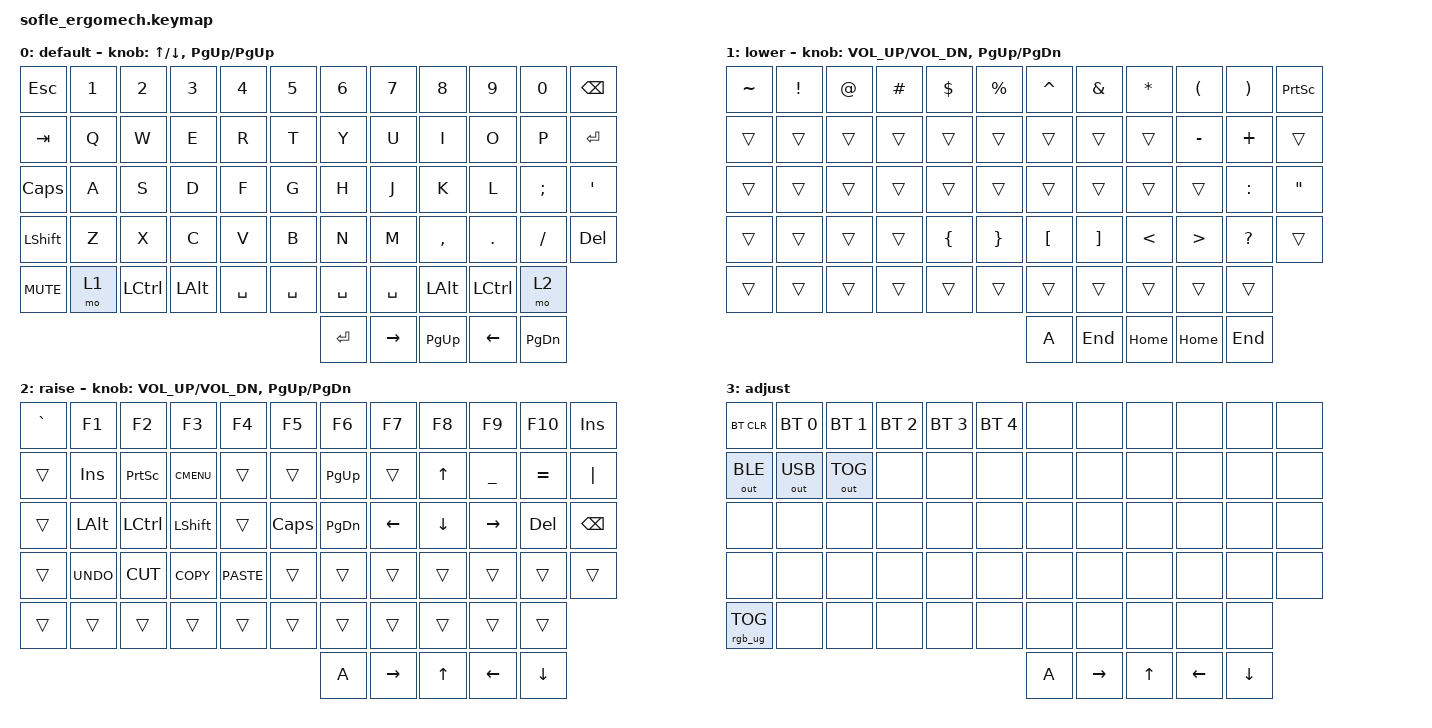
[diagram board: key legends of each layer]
/*
 * Copyright (c) 2020 The ZMK Contributors
 *
 * SPDX-License-Identifier: MIT
 */

#include <behaviors.dtsi>
#include <dt-bindings/zmk/bt.h>
#include <dt-bindings/zmk/keys.h>
#include <dt-bindings/zmk/outputs.h>
#include <dt-bindings/zmk/rgb.h>

#define BASE 0
#define LOWER 1
#define RAISE 2
#define ADJUST 3

/ {
    // Activate ADJUST layer by pressing raise and lower

    conditional_layers {
        compatible = "zmk,conditional-layers";

        adjust_layer {
            if-layers = <LOWER RAISE>;
            then-layer = <ADJUST>;
        };
    };

    keymap {
        compatible = "zmk,keymap";

        default_layer {
            label = "default";

            // ------------------------------------------------------------------------------------------------------------
            // |   `   |  1  |  2  |  3   |  4   |  5   |                   |  6   |  7    |  8    |  9   |   0   |       |
            // |  ESC  |  Q  |  W  |  E   |  R   |  T   |                   |  Y   |  U    |  I    |  O   |   P   | BKSPC |
            // |  TAB  |  A  |  S  |  D   |  F   |  G   |                   |  H   |  J    |  K    |  L   |   ;   |   '   |
            // | SHIFT |  Z  |  X  |  C   |  V   |  B   |  MUTE  |  |       |  N   |  M    |  ,    |  .   |   /   | SHIFT |
            //               | GUI | ALT  | CTRL | LOWER|  ENTER |  | SPACE | RAISE| CTRL  | ALT   | GUI  |

            bindings = <
&kp ESCAPE  &kp N1  &kp N2     &kp N3        &kp N4     &kp N5     &kp N6     &kp N7     &kp N8        &kp N9     &kp N0         &kp BACKSPACE
&kp TAB     &kp Q   &kp W      &kp E         &kp R      &kp T      &kp Y      &kp U      &kp I         &kp O      &kp P          &kp ENTER
&kp CAPS    &kp A   &kp S      &kp D         &kp F      &kp G      &kp H      &kp J      &kp K         &kp L      &kp SEMI       &kp SQT
&kp LSHFT   &kp Z   &kp X      &kp C         &kp V      &kp B      &kp N      &kp M      &kp COMMA     &kp DOT    &kp FSLH       &kp DELETE
&kp C_MUTE  &mo 1   &kp LCTRL  &kp LEFT_ALT  &kp SPACE  &kp SPACE  &kp SPACE  &kp SPACE  &kp LEFT_ALT  &kp LCTRL  &mo 2
                                                                   &kp ENTER  &kp RIGHT  &kp PG_UP     &kp LEFT   &kp PAGE_DOWN
            >;

            sensor-bindings =
                <&inc_dec_kp UP_ARROW DOWN>,
                <&inc_dec_kp PG_UP PG_UP>;
        };

        lower_layer {
            label = "lower";

            // TODO: Some binds are waiting for shifted keycode support.
            // ------------------------------------------------------------------------------------------------------------
            // |       |  F1 |  F2 |  F3  |  F4  |  F5  |                   |  F6  |  F7   |  F8   |  F9  |  F10  |  F11  |
            // |   `   |  1  |  2  |  3   |  4   |  5   |                   |  6   |  7    |  8    |  9   |   0   |  F12  |
            // |       |  !  |  @  |  #   |  $   |  %   |                   |  ^   |  &    |  *    |  (   |   )   |   |   |
            // |       |  =  |  -  |  +   |  {   |  }   |        |  |       |  [   |  ]    |  ;    |  :   |   \   |       |
            //               |     |      |      |      |        |  |       |      |       |       |      |

            bindings = <
&kp TILDE  &kp EXCL  &kp AT  &kp POUND  &kp DOLLAR  &kp PERCENT  &kp CARET  &kp AMPERSAND  &kp ASTERISK   &kp LEFT_PARENTHESIS  &kp RIGHT_PARENTHESIS  &kp PRINTSCREEN
&trans     &trans    &trans  &trans     &trans      &trans       &trans     &trans         &trans         &kp MINUS             &kp PLUS               &trans
&trans     &trans    &trans  &trans     &trans      &trans       &trans     &trans         &trans         &trans                &kp COLON              &kp DOUBLE_QUOTES
&trans     &trans    &trans  &trans     &kp LBRC    &kp RBRC     &kp LBKT   &kp RBKT       &kp LESS_THAN  &kp GREATER_THAN      &kp QUESTION           &trans
&trans     &trans    &trans  &trans     &trans      &trans       &trans     &trans         &trans         &trans                &trans
                                                                 &kp A      &kp END        &kp HOME       &kp HOME              &kp END
            >;

            sensor-bindings = <&inc_dec_kp C_VOL_UP C_VOL_DN &inc_dec_kp PG_UP PG_DN>;
        };

        raise_layer {
            label = "raise";

            // ------------------------------------------------------------------------------------------------------------
            // | BTCLR | BT1  | BT2  |  BT3  |  BT4  |  BT5 |                |      |      |       |      |       |       |
            // |       | INS  | PSCR | GUI   |       |      |                | PGUP |      |   ^   |      |       |       |
            // |       | ALT  | CTRL | SHIFT |       | CAPS |                | PGDN |   <- |   v   |  ->  |  DEL  | BKSPC |
            // |       | UNDO | CUT  | COPY  | PASTE |      |      |  |      |      |      |       |      |       |       |
            //                |      |       |       |      |      |  |      |      |      |       |      |

            bindings = <
&kp GRAVE  &kp F1      &kp F2     &kp F3       &kp F4       &kp F5    &kp F6     &kp F7     &kp F8        &kp F9          &kp F10    &kp INS
&trans     &kp INS     &kp PSCRN  &kp K_CMENU  &trans       &trans    &kp PG_UP  &trans     &kp UP        &kp UNDER       &kp EQUAL  &kp PIPE
&trans     &kp LALT    &kp LCTRL  &kp LSHFT    &trans       &kp CLCK  &kp PG_DN  &kp LEFT   &kp DOWN      &kp RIGHT       &kp DEL    &kp BSPC
&trans     &kp K_UNDO  &kp K_CUT  &kp K_COPY   &kp K_PASTE  &trans    &trans     &trans     &trans        &trans          &trans     &trans
&trans     &trans      &trans     &trans       &trans       &trans    &trans     &trans     &trans        &trans          &trans
                                                                      &kp A      &kp RIGHT  &kp UP_ARROW  &kp LEFT_ARROW  &kp DOWN
            >;

            sensor-bindings = <&inc_dec_kp C_VOL_UP C_VOL_DN &inc_dec_kp PG_UP PG_DN>;
        };

        adjust_layer {
            // ----------------------------------------------------------------------------------------------------------------------------
            // | BTCLR  |  BT1    |  BT2    |   BT3   |   BT4   |   BT5   |                  |      |      |       |      |       |       |
            // | EXTPWR | RGB_HUD | RGB_HUI | RGB_SAD | RGB_SAI | RGB_EFF |                  |      |      |       |      |       |       |
            // |        | RGB_BRD | RGB_BRI |         |         |         |                  |      |      |       |      |       |       |
            // |        |         |         |         |         |         | RGB_TOG | |      |      |      |       |      |       |       |
            //                    |         |         |         |         |         | |      |      |      |       |      |

            label = "adjust";
            bindings = <
&bt BT_CLR       &bt BT_SEL 0  &bt BT_SEL 1  &bt BT_SEL 2  &bt BT_SEL 3  &bt BT_SEL 4  &none  &none      &none         &none           &none     &none
&out OUT_BLE     &out OUT_USB  &out OUT_TOG  &none         &none         &none         &none  &none      &none         &none           &none     &none
&none            &none         &none         &none         &none         &none         &none  &none      &none         &none           &none     &none
&none            &none         &none         &none         &none         &none         &none  &none      &none         &none           &none     &none
&rgb_ug RGB_TOG  &none         &none         &none         &none         &none         &none  &none      &none         &none           &none
                                                                                       &kp A  &kp RIGHT  &kp UP_ARROW  &kp LEFT_ARROW  &kp DOWN
            >;
        };
    };
};
